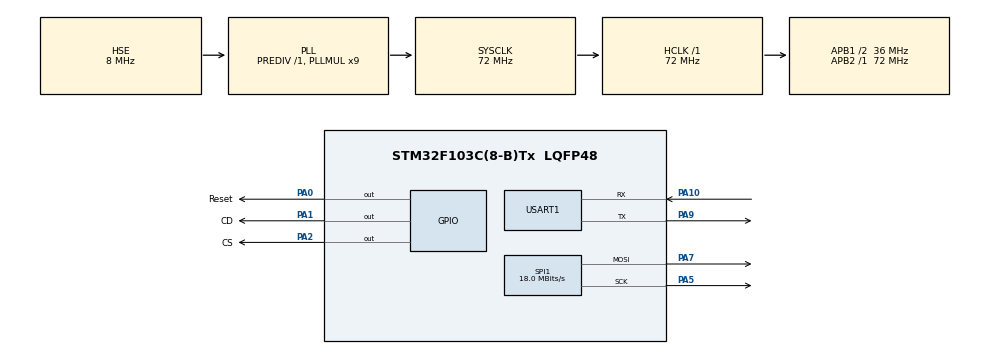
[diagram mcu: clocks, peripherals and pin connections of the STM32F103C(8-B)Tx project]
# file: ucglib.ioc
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Mcu.Family=STM32F1
Mcu.Name=STM32F103C(8-B)Tx
Mcu.Package=LQFP48
NVIC.PriorityGroup=NVIC_PRIORITYGROUP_4
PA0-WKUP.GPIO_Label=Reset
PA0-WKUP.GPIO_Speed=GPIO_SPEED_FREQ_HIGH
PA0-WKUP.Signal=GPIO_Output
PA1.GPIO_Label=CD
PA1.GPIO_Speed=GPIO_SPEED_FREQ_HIGH
PA1.Signal=GPIO_Output
PA10.Mode=Asynchronous
PA10.Signal=USART1_RX
PA13.Mode=Serial_Wire
PA13.Signal=SYS_JTMS-SWDIO
PA14.Mode=Serial_Wire
PA14.Signal=SYS_JTCK-SWCLK
PA2.GPIO_Label=CS
PA2.GPIO_Speed=GPIO_SPEED_FREQ_HIGH
PA2.Signal=GPIO_Output
PA5.Mode=TX_Only_Simplex_Unidirect_Master
PA5.Signal=SPI1_SCK
PA7.Mode=TX_Only_Simplex_Unidirect_Master
PA7.Signal=SPI1_MOSI
PA9.Mode=Asynchronous
PA9.Signal=USART1_TX
PC14-OSC32_IN.Mode=LSE-External-Oscillator
PC14-OSC32_IN.Signal=RCC_OSC32_IN
PC15-OSC32_OUT.Mode=LSE-External-Oscillator
PC15-OSC32_OUT.Signal=RCC_OSC32_OUT
PD0-OSC_IN.Mode=HSE-External-Oscillator
PD0-OSC_IN.Signal=RCC_OSC_IN
PD1-OSC_OUT.Mode=HSE-External-Oscillator
PD1-OSC_OUT.Signal=RCC_OSC_OUT
ProjectManager.HeapSize=0x200
ProjectManager.StackSize=0x400
ProjectManager.TargetToolchain=Makefile
RCC.AHBFreq_Value=72000000
RCC.APB1CLKDivider=RCC_HCLK_DIV2
RCC.APB1Freq_Value=36000000
RCC.APB1TimFreq_Value=72000000
RCC.APB2Freq_Value=72000000
RCC.APB2TimFreq_Value=72000000
RCC.HCLKFreq_Value=72000000
RCC.PLLMUL=RCC_PLL_MUL9
RCC.PLLSourceVirtual=RCC_PLLSOURCE_HSE
RCC.RTCClockSelection=RCC_RTCCLKSOURCE_LSE
RCC.SYSCLKFreq_VALUE=72000000
RCC.SYSCLKSource=RCC_SYSCLKSOURCE_PLLCLK
RCC.USBFreq_Value=72000000
SPI1.BaudRatePrescaler=SPI_BAUDRATEPRESCALER_4
SPI1.CalculateBaudRate=18.0 MBits/s
SPI1.Direction=SPI_DIRECTION_2LINES
SPI1.Mode=SPI_MODE_MASTER
SPI1.VirtualType=VM_MASTER
USART1.VirtualMode=VM_ASYNC
VP_RTC_No_RTC_Output.Mode=RTC_OUT_NO
VP_RTC_VS_RTC_Activate.Mode=RTC_Enabled
board=custom

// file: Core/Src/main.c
/* USER CODE BEGIN Header */
/**
 ******************************************************************************
 * @file           : main.c
 * @brief          : Main program body
 ******************************************************************************
 * @attention
 *
 * Copyright (c) 2021 STMicroelectronics.
 * All rights reserved.
 *
 * This software is licensed under terms that can be found in the LICENSE file
 * in the root directory of this software component.
 * If no LICENSE file comes with this software, it is provided AS-IS.
 *
 ******************************************************************************
 */
/* USER CODE END Header */
#include "main.h"
#include "rtc.h"
#include "spi.h"
#include "usart.h"
#include "gpio.h"

/* USER CODE BEGIN Includes */
#include <stdio.h>
#include "ucg.h"
#include "ucg_com_stm32_hal.h"
/* USER CODE END Includes */

/* USER CODE BEGIN PV */
static ucg_t ucg;
/* USER CODE END PV */

void SystemClock_Config(void);

/* USER CODE BEGIN 0 */
void Init(void) {

}
/* USER CODE END 0 */

int main(void)
{

	/* MCU Configuration--------------------------------------------------------*/

	/* Reset of all peripherals, Initializes the Flash interface and the Systick. */
	HAL_Init();

	/* Configure the system clock */
	SystemClock_Config();

	/* Initialize all configured peripherals */
	MX_GPIO_Init();
	MX_RTC_Init();
	MX_SPI1_Init();
	MX_USART1_UART_Init();
	/* USER CODE BEGIN 2 */
	//Enable SPI
	SPI1->CR1 |= SPI_CR1_SPE;
	ucg_Init(&ucg, ucg_dev_st7735_18x80x160, ucg_ext_st7735L_18, ucg_com_stm32_hal);
	ucg_SetFontMode(&ucg, UCG_FONT_MODE_TRANSPARENT);
	ucg_SetRotate90(&ucg);
	ucg_SetFontPosBaseline(&ucg);
	ucg_SetColor(&ucg, 0, 255, 255, 255);
	ucg_DrawBox(&ucg, 0, 0, ucg_GetWidth(&ucg), ucg_GetHeight(&ucg));
	int16_t i = 0;
	draw(&ucg);
	/* USER CODE END 2 */

	/* Infinite loop */
	/* USER CODE BEGIN WHILE */
	while (1)
	{
		uint8_t buff[10];
		sprintf((char*)buff, "val %d", i);
		i++;
		ucg_SetColor(&ucg, 0, 50, 0, 0);
		ucg_SetColor(&ucg, 1, 255, 255, 255);
		ucg_SetFontMode(&ucg, UCG_FONT_MODE_SOLID);
		ucg_SetFont(&ucg, ucg_font_ncenB18_hf);
		/* ucg_DrawString(&ucg, 5, 20, 0, "Hello "); */
		ucg_DrawString(&ucg, 5, 20, 0, (char*)buff);
		HAL_Delay(1000);
		/* USER CODE END WHILE */

	}
}

void SystemClock_Config(void)
{
	RCC_OscInitTypeDef RCC_OscInitStruct = {0};
	RCC_ClkInitTypeDef RCC_ClkInitStruct = {0};
	RCC_PeriphCLKInitTypeDef PeriphClkInit = {0};

	/** Initializes the RCC Oscillators according to the specified parameters
	 * in the RCC_OscInitTypeDef structure.
	 */
	RCC_OscInitStruct.OscillatorType = RCC_OSCILLATORTYPE_HSE|RCC_OSCILLATORTYPE_LSE;
	RCC_OscInitStruct.HSEState = RCC_HSE_ON;
	RCC_OscInitStruct.HSEPredivValue = RCC_HSE_PREDIV_DIV1;
	RCC_OscInitStruct.LSEState = RCC_LSE_ON;
	RCC_OscInitStruct.HSIState = RCC_HSI_ON;
	RCC_OscInitStruct.PLL.PLLState = RCC_PLL_ON;
	RCC_OscInitStruct.PLL.PLLSource = RCC_PLLSOURCE_HSE;
	RCC_OscInitStruct.PLL.PLLMUL = RCC_PLL_MUL9;
	if (HAL_RCC_OscConfig(&RCC_OscInitStruct) != HAL_OK)
	{
		Error_Handler();
	}
	/** Initializes the CPU, AHB and APB buses clocks
	*/
	RCC_ClkInitStruct.ClockType = RCC_CLOCKTYPE_HCLK|RCC_CLOCKTYPE_SYSCLK
		|RCC_CLOCKTYPE_PCLK1|RCC_CLOCKTYPE_PCLK2;
	RCC_ClkInitStruct.SYSCLKSource = RCC_SYSCLKSOURCE_PLLCLK;
	RCC_ClkInitStruct.AHBCLKDivider = RCC_SYSCLK_DIV1;
	RCC_ClkInitStruct.APB1CLKDivider = RCC_HCLK_DIV2;
	RCC_ClkInitStruct.APB2CLKDivider = RCC_HCLK_DIV1;

	if (HAL_RCC_ClockConfig(&RCC_ClkInitStruct, FLASH_LATENCY_2) != HAL_OK)
	{
		Error_Handler();
	}
	PeriphClkInit.PeriphClockSelection = RCC_PERIPHCLK_RTC;
	PeriphClkInit.RTCClockSelection = RCC_RTCCLKSOURCE_LSE;
	if (HAL_RCCEx_PeriphCLKConfig(&PeriphClkInit) != HAL_OK)
	{
		Error_Handler();
	}
}

void Error_Handler(void)
{
	__disable_irq();
	while (1)
	{
	}
}

#ifdef  USE_FULL_ASSERT
/**
 * @brief  Reports the name of the source file and the source line number
 *         where the assert_param error has occurred.
 * @param  file: pointer to the source file name
 * @param  line: assert_param error line source number
 * @retval None
 */
void assert_failed(uint8_t *file, uint32_t line)
{
	/* USER CODE BEGIN 6 */
	/* User can add his own implementation to report the file name and line number,
	   printf("Wrong parameters value: file %s on line %d\r\n", file, line) */
	/* USER CODE END 6 */
}
#endif /* USE_FULL_ASSERT */
